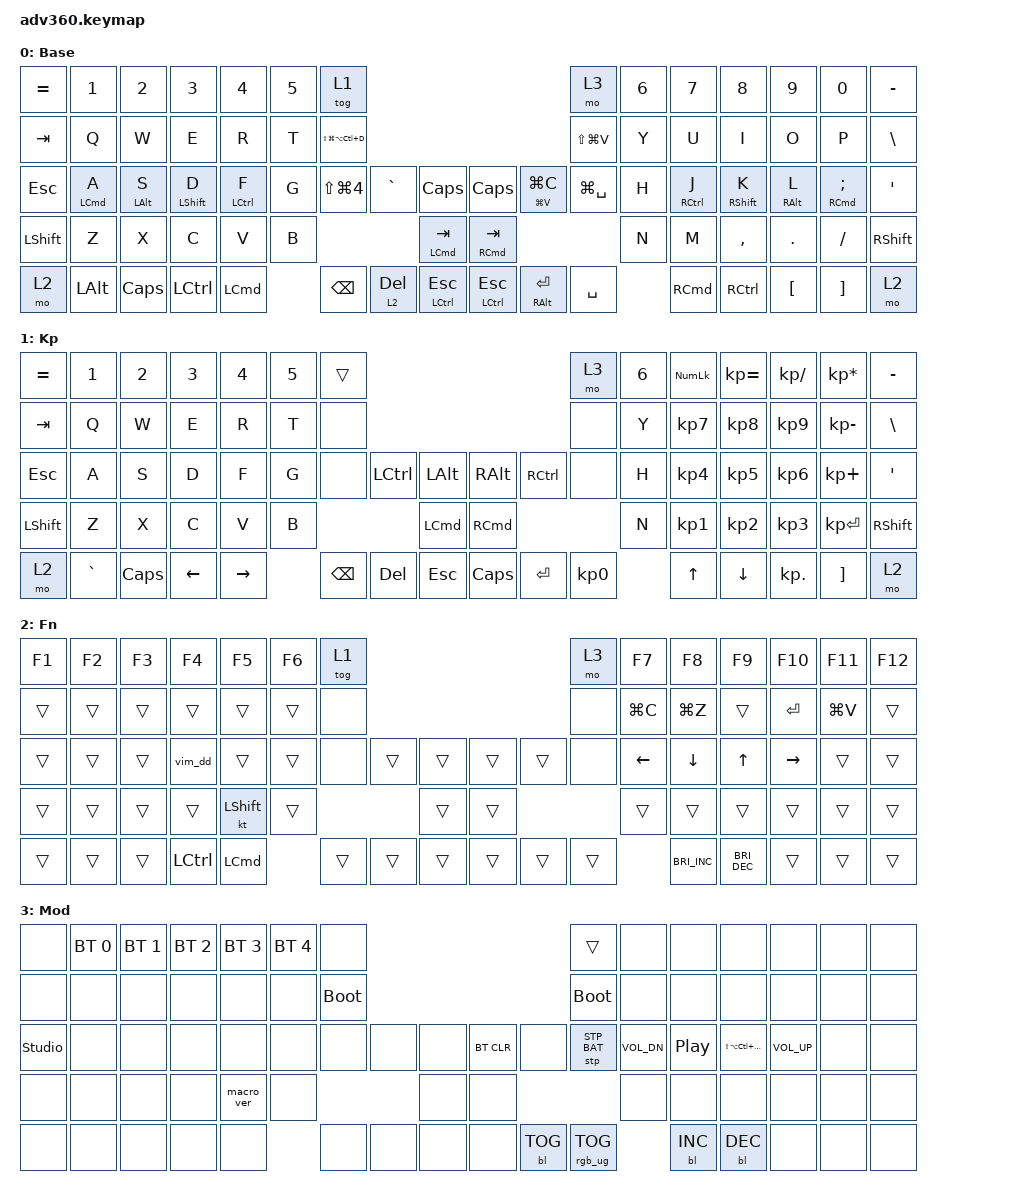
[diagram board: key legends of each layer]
#include <dt-bindings/zmk/stp.h>
#include <behaviors.dtsi>
#include <dt-bindings/zmk/backlight.h>
#include <dt-bindings/zmk/bt.h>
#include <dt-bindings/zmk/keys.h>
#include <dt-bindings/zmk/rgb.h>

/ {
    behaviors {
        #include "macros.dtsi"
      #include "version.dtsi"

        hm: homerow_mods {
            compatible = "zmk,behavior-hold-tap";
            label = "HOMEROW_MODS";
            #binding-cells = <2>;
            tapping-term-ms = <200>;
            quick_tap_ms = <175>;
            flavor = "tap-preferred";
            bindings = <&kp>, <&kp>;
        };
    };

    combos {
        compatible = "zmk,combos";

        vim_shift_o {
            bindings = <&vim_shift_o>;
            key-positions = <46 25 66>;
            layers = <2>;
        };
    };

    macros {
        vim_dd: vim_dd {
            compatible = "zmk,behavior-macro";
            #binding-cells = <0>;
            bindings = <&kp LG(LEFT) &kp LG(LS(RIGHT)) &kp LG(X) &kp BACKSPACE>;
            label = "VIM_DD";
        };

        vim_shift_o: vim_shift_o {
            compatible = "zmk,behavior-macro";
            #binding-cells = <0>;
            bindings = <&kp UP &kp LG(RIGHT) &kp ENTER>;
            label = "VIM_SHIFT_O";
        };
    };

    keymap {
        compatible = "zmk,keymap";

        default_layer {
            display-name = "Base";
            bindings = <
&kp EQUAL  &kp N1              &kp N2          &kp N3            &kp N4              &kp N5  &tog 1                                                                                                     &mo 3          &kp N6  &kp N7               &kp N8             &kp N9           &kp N0                  &kp MINUS
&kp TAB    &kp Q               &kp W           &kp E             &kp R               &kp T   &kp LS(LG(LA(LC(D))))                                                                                      &kp LS(LG(V))  &kp Y   &kp U                &kp I              &kp O            &kp P                   &kp BSLH
&kp ESC    &hm LEFT_COMMAND A  &hm LEFT_ALT S  &hm LEFT_SHIFT D  &hm LEFT_CONTROL F  &kp G   &kp LS(LG(NUMBER_4))   &kp GRAVE     &kp CAPSLOCK              &kp CAPSLOCK           &mt LG(V) LG(C)      &kp LG(SPACE)  &kp H   &hm RIGHT_CONTROL J  &hm RIGHT_SHIFT K  &hm RIGHT_ALT L  &hm RIGHT_COMMAND SEMI  &kp SQT
&kp LSHFT  &kp Z               &kp X           &kp C             &kp V               &kp B                                        &mt LEFT_COMMAND TAB      &mt RIGHT_COMMAND TAB                                      &kp N   &kp M                &kp COMMA          &kp DOT          &kp FSLH                &kp RSHFT
&mo 2      &kp LEFT_ALT        &kp CAPS        &kp LEFT_CONTROL  &kp LEFT_COMMAND            &kp BACKSPACE          &lt 2 DELETE  &mt LEFT_CONTROL ESC      &mt LEFT_CONTROL ESC   &mt RIGHT_ALT ENTER  &kp SPACE              &kp RIGHT_COMMAND    &kp RIGHT_CONTROL  &kp LBKT         &kp RBKT                &mo 2
            >;
        };

        keypad {
            display-name = "Kp";
            bindings = <
&kp EQUAL  &kp N1     &kp N2    &kp N3    &kp N4     &kp N5  &trans                                                                   &mo 3      &kp N6  &kp KP_NUM  &kp KP_EQUAL  &kp KP_DIVIDE  &kp KP_MULTIPLY  &kp MINUS
&kp TAB    &kp Q      &kp W     &kp E     &kp R      &kp T   &none                                                                    &none      &kp Y   &kp KP_N7   &kp KP_N8     &kp KP_N9      &kp KP_MINUS     &kp BSLH
&kp ESC    &kp A      &kp S     &kp D     &kp F      &kp G   &none     &kp LCTRL  &kp LALT              &kp RIGHT_ALT      &kp RCTRL  &none      &kp H   &kp KP_N4   &kp KP_N5     &kp KP_N6      &kp KP_PLUS      &kp SQT
&kp LSHFT  &kp Z      &kp X     &kp C     &kp V      &kp B                        &kp LEFT_COMMAND      &kp RIGHT_COMMAND                        &kp N   &kp KP_N1   &kp KP_N2     &kp KP_N3      &kp KP_ENTER     &kp RSHFT
&mo 2      &kp GRAVE  &kp CAPS  &kp LEFT  &kp RIGHT          &kp BSPC  &kp DEL    &kp ESC               &kp CAPSLOCK       &kp ENTER  &kp KP_N0          &kp UP      &kp DOWN      &kp KP_DOT     &kp RBKT         &mo 2
            >;
        };

        fn {
            display-name = "Fn";
            bindings = <
&kp F1  &kp F2  &kp F3  &kp F4            &kp F5            &kp F6  &tog 1                                      &mo 3   &kp F7     &kp F8                &kp F9                &kp F10    &kp F11    &kp F12
&trans  &trans  &trans  &trans            &trans            &trans  &none                                       &none   &kp LG(C)  &kp LG(Z)             &trans                &kp ENTER  &kp LG(V)  &trans
&trans  &trans  &trans  &vim_dd           &trans            &trans  &none   &trans  &trans      &trans  &trans  &none   &kp LEFT   &kp DOWN              &kp UP                &kp RIGHT  &trans     &trans
&trans  &trans  &trans  &trans            &kt LEFT_SHIFT    &trans                  &trans      &trans                  &trans     &trans                &trans                &trans     &trans     &trans
&trans  &trans  &trans  &kp LEFT_CONTROL  &kp LEFT_COMMAND          &trans  &trans  &trans      &trans  &trans  &trans             &kp C_BRIGHTNESS_INC  &kp C_BRIGHTNESS_DEC  &trans     &trans     &trans
            >;
        };

        mod {
            display-name = "Mod";
            bindings = <
&none           &bt BT_SEL 0  &bt BT_SEL 1  &bt BT_SEL 2  &bt BT_SEL 3  &bt BT_SEL 4  &none                                                  &trans           &none         &none             &none                  &none            &none  &none
&none           &none         &none         &none         &none         &none         &bootloader                                            &bootloader      &none         &none             &none                  &none            &none  &none
&studio_unlock  &none         &none         &none         &none         &none         &none        &none  &none      &bt BT_CLR  &none       &stp STP_BAT     &kp C_VOL_DN  &kp C_PLAY_PAUSE  &kp LS(LA(LC(LG(O))))  &kp C_VOLUME_UP  &none  &none
&none           &none         &none         &none         &macro_ver    &none                             &none      &none                                    &none         &none             &none                  &none            &none  &none
&none           &none         &none         &none         &none                       &none        &none  &none      &none       &bl BL_TOG  &rgb_ug RGB_TOG                &bl BL_INC        &bl BL_DEC             &none            &none  &none
            >;
        };

        vim {
            display-name = "Red";
            status = "reserved";
        };

        extra2 {
            display-name = "Purple";
            status = "reserved";
        };

        extra3 {
            display-name = "Cyan";
            status = "reserved";
        };

        extra4 {
            display-name = "Yellow";
            status = "reserved";
        };
    };
};
